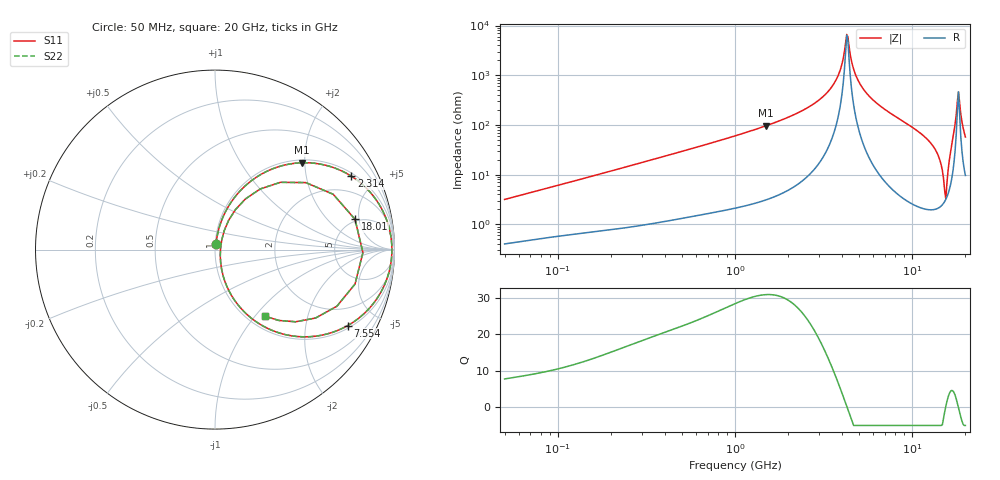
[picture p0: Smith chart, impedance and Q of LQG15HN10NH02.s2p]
!Murata Part Number: LQG15HN10NH02
!These Parameters are Measured in Series Mode Connection
!  o--[Z]--o
!Port1  Port2
!  o-------o
!Freq. Start=50[MHz] Stop=20[GHz], 401[Steps]
# Hz S RI R 50
!Freq.(Hz) S11(Real) S11(Imag) S21(Real) S21(Imag) S12(Real) S12(Imag) S22(Real) S22(Imag)
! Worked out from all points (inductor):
!   401 points, 50 MHz to 20 GHz, reference 50 ohm
!   read as one part in series: L = 9.88 nH near 51.52 MHz
!   highest Q = 31 at 1.498 GHz (marker M1), where L = 10.2 nH
!   self-resonance near 4.276 GHz
!   S11 on the Smith chart (normalised r, x): 50 MHz: 1.01, +0.06; 2.314 GHz: 1.14, +3.64; 7.554 GHz: 1.11, -3.43; 18.01 GHz: 4.72, +4.39; 20 GHz: 1.19, -1.13
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5e7  0.005 0.0312  0.995 -0.0312  0.995 -0.0312  0.005 0.0312
1.364002e8  0.0131 0.0801  0.9869 -0.0801  0.9869 -0.0801  0.0131 0.0801
3.721004e8  0.0548 0.204  0.9452 -0.204  0.9452 -0.204  0.0548 0.204
1e9  0.2731 0.4283  0.7269 -0.4283  0.7269 -0.4283  0.2731 0.4283
1.498439e9  0.4821 0.4838  0.5179 -0.4838  0.5179 -0.4838  0.4821 0.4838
2.313601e9  0.7599 0.4089  0.2401 -0.4089  0.2401 -0.4089  0.7599 0.4089
2.728004e9  0.8545 0.3307  0.1455 -0.3307  0.1455 -0.3307  0.8545 0.3307
3.680849e9  0.9686 0.1264  0.0314 -0.1264  0.0314 -0.1264  0.9686 0.1264
4.275624e9  0.9857 0.00407  0.0143 -0.00407  0.0143 -0.00407  0.9857 0.00407
4.748272e9  0.9784 -0.0846  0.0216 0.0846  0.0216 0.0846  0.9784 -0.0846
5.117541e9  0.963 -0.1477  0.037 0.1477  0.037 0.1477  0.963 -0.1477
7.442007e9  0.7527 -0.4155  0.2473 0.4155  0.2473 0.4155  0.7527 -0.4155
7.554318e9  0.7399 -0.4231  0.2601 0.4231  0.2601 0.4231  0.7399 -0.4231
1.276073e10  0.1669 -0.3508  0.8331 0.3508  0.8331 0.3508  0.1669 -0.3508
1.417136e10  0.0657 -0.204  0.9343 0.204  0.9343 0.204  0.0657 -0.204
1.527346e10  0.0294 -0.0363  0.9706 0.0363  0.9706 0.0363  0.0294 -0.0363
1.573793e10  0.0377 0.0544  0.9623 -0.0544  0.9623 -0.0544  0.0377 0.0544
1.721783e10  0.3641 0.3748  0.6359 -0.3748  0.6359 -0.3748  0.3641 0.3748
1.800918e10  0.7801 0.1689  0.2199 -0.1689  0.2199 -0.1689  0.7801 0.1689
1.855685e10  0.7802 -0.1918  0.2198 0.1918  0.2198 0.1918  0.7802 -0.1918
1.912117e10  0.5606 -0.3812  0.4394 0.3812  0.4394 0.3812  0.5606 -0.3812
2e10  0.2788 -0.371  0.7212 0.371  0.7212 0.371  0.2788 -0.371
